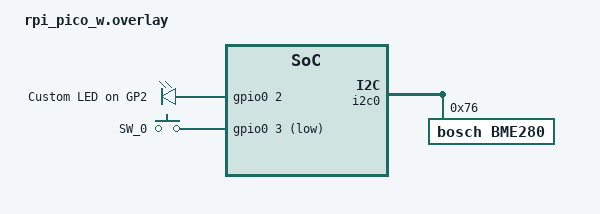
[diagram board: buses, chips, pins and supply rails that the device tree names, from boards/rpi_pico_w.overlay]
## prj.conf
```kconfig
CONFIG_STDOUT_CONSOLE=y
CONFIG_SENSOR=y
CONFIG_SENSOR_INFO=y


CONFIG_I2C=y

CONFIG_CBPRINTF_FP_SUPPORT=y

CONFIG_BME280=y
```

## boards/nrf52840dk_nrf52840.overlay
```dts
// To get started, press Ctrl+Space to bring up the completion menu and view the available nodes.

// You can also use the buttons in the sidebar to perform actions on nodes.
// Actions currently available include:

// * Enabling / disabling the node
// * Adding the bus to a bus
// * Removing the node
// * Connecting ADC channels

// For more help, browse the DeviceTree documentation at https://docs.zephyrproject.org/latest/guides/dts/index.html
// You can also visit the nRF DeviceTree extension documentation at https://nrfconnect.github.io/vscode-nrf-connect/devicetree/nrfdevicetree.html

/* Choose ACM for console debug */
/ {

	aliases {		
		ambient0 = &bme688;
	};
	
};

&i2c0 {
	status = "okay";

	bme688: bme680@77 {
		compatible = "bosch,bme680";
		reg = <0x77>;
		label = "BME680";
	};

};


&spi3{
	status = "disabled";
};
```

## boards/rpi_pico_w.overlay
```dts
#include <zephyr/dt-bindings/input/input-event-codes.h>

/ {
    aliases {
        led0 = &my_custom_led;
	ambient0 = &bme280;
    };

    leds {
        compatible = "gpio-leds";

        my_custom_led: led_2 {
            /* Map to GP2 on the RP2040 (gpio0 is the main GPIO controller) */
            gpios = <&gpio0 2 GPIO_ACTIVE_HIGH>;
            label = "Custom LED on GP2";
        };
    };

    gpio_keys {
		compatible = "gpio-keys";

		user_btn: button_0 {
			label = "SW_0";
			gpios = <&gpio0 3 (GPIO_PULL_UP | GPIO_ACTIVE_LOW)>;
			zephyr,code = <INPUT_KEY_0>;
		};
	};
};


/* Default I2c pin MUX:
 * pinmux = <I2C0_SDA_P4>, <I2C0_SCL_P5>;
 *
 * See rpi_pico-pinctrl-common.dtsi
*/

&i2c0 {
	status = "okay";

	bme280: bme280@76 {
		compatible = "bosch,bme280";
		reg = <0x76>;
		label = "BME280";
	};

};
```

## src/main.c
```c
/*
 * Copyright (c) 2018 Bosch Sensortec GmbH
 *
 * SPDX-License-Identifier: Apache-2.0
 */

#include <zephyr/kernel.h>
#include <zephyr/device.h>
#include <zephyr/drivers/sensor.h>
#include <zephyr/sys/printk.h>
#include <stdio.h>

int main(void)
{
	const struct device *const dev = DEVICE_DT_GET(DT_ALIAS(ambient0));
	struct sensor_value temp, press, humidity;

	printf("Device %p name is %s\n", dev, dev->name);

	if (!device_is_ready(dev)) {
		printk("\nError: Device \"%s\" is not ready; "
		       "check the driver initialization logs for errors.\n",
		       dev->name);
		//return NULL;
	}

	while (1) {
		k_sleep(K_MSEC(5000));

		sensor_sample_fetch(dev);
		sensor_channel_get(dev, SENSOR_CHAN_AMBIENT_TEMP, &temp);
		sensor_channel_get(dev, SENSOR_CHAN_PRESS, &press);
		sensor_channel_get(dev, SENSOR_CHAN_HUMIDITY, &humidity);
		
		printf("T: %d.%06d; P: %d.%06d; H: %d.%06d;\n",
				temp.val1, temp.val2, press.val1, press.val2,
				humidity.val1, humidity.val2);
	}
}
```
